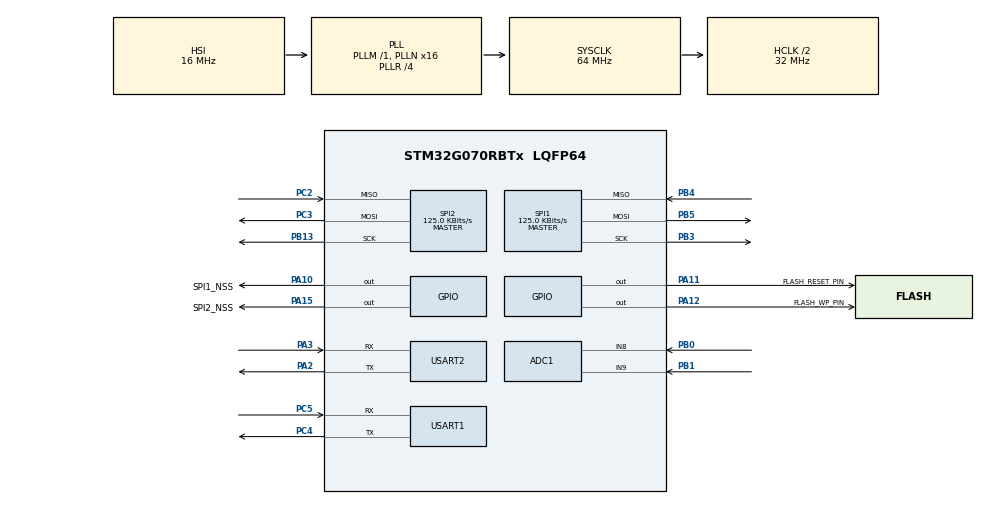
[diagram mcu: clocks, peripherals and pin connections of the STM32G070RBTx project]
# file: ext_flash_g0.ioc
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ADC1.Channel-0\#ChannelRegularConversion=ADC_CHANNEL_8
ADC1.NbrOfConversionFlag=1
ADC1.Rank-0\#ChannelRegularConversion=1
ADC1.SamplingTime-0\#ChannelRegularConversion=ADC_SAMPLINGTIME_COMMON_1
ADC1.SelectedChannel=ADC_CHANNEL_8|ADC_CHANNEL_9
ADC1.master=1
Mcu.Family=STM32G0
Mcu.Name=STM32G070RBTx
Mcu.Package=LQFP64
PA10.GPIO_Label=SPI1_NSS
PA10.Signal=GPIO_Output
PA11\ [PA9].GPIO_Label=FLASH_RESET_PIN
PA11\ [PA9].Signal=GPIO_Output
PA12\ [PA10].GPIO_Label=FLASH_WP_PIN
PA12\ [PA10].Signal=GPIO_Output
PA13.GPIO_Label=TMS
PA13.Mode=Serial_Wire
PA13.Signal=SYS_SWDIO
PA14-BOOT0.GPIO_Label=TCK
PA14-BOOT0.Mode=Serial_Wire
PA14-BOOT0.Signal=SYS_SWCLK
PA15.GPIO_Label=SPI2_NSS
PA15.Signal=GPIO_Output
PA2.Mode=Asynchronous
PA2.Signal=USART2_TX
PA3.Mode=Asynchronous
PA3.Signal=USART2_RX
PB0.Mode=IN8
PB0.Signal=ADC1_IN8
PB1.Mode=IN9
PB1.Signal=ADC1_IN9
PB13.Mode=Full_Duplex_Master
PB13.Signal=SPI2_SCK
PB3.Mode=Full_Duplex_Master
PB3.Signal=SPI1_SCK
PB4.Mode=Full_Duplex_Master
PB4.Signal=SPI1_MISO
PB5.Mode=Full_Duplex_Master
PB5.Signal=SPI1_MOSI
PC13.Mode=SYS_WakeUp1
PC13.Signal=SYS_WKUP2
PC14-OSC32_IN\ (PC14).Mode=LSE-External-Oscillator
PC14-OSC32_IN\ (PC14).Signal=RCC_OSC32_IN
PC15-OSC32_OUT\ (PC15).Mode=LSE-External-Oscillator
PC15-OSC32_OUT\ (PC15).Signal=RCC_OSC32_OUT
PC2.Mode=Full_Duplex_Master
PC2.Signal=SPI2_MISO
PC3.Mode=Full_Duplex_Master
PC3.Signal=SPI2_MOSI
PC4.Mode=Asynchronous
PC4.Signal=USART1_TX
PC5.Mode=Asynchronous
PC5.Signal=USART1_RX
PF0-OSC_IN\ (PF0).GPIO_Label=MCO
PF0-OSC_IN\ (PF0).Mode=HSE-External-Clock-Source
PF0-OSC_IN\ (PF0).Signal=RCC_OSC_IN
ProjectManager.HeapSize=0x200
ProjectManager.StackSize=0x400
ProjectManager.TargetToolchain=STM32CubeIDE
RCC.ADCFreq_Value=64000000
RCC.AHBCLKDivider=RCC_SYSCLK_DIV2
RCC.AHBFreq_Value=32000000
RCC.CortexFreq_Value=32000000
RCC.EXTERNAL_CLOCK_VALUE=12288000
RCC.HCLKFreq_Value=32000000
RCC.HSE_VALUE=8000000
RCC.HSI_VALUE=16000000
RCC.PLLN=16
RCC.PLLR=RCC_PLLR_DIV4
RCC.SYSCLKFreq_VALUE=64000000
RCC.SYSCLKSource=RCC_SYSCLKSOURCE_PLLCLK
RCC.VCOOutputFreq_Value=256000000
SPI1.BaudRatePrescaler=SPI_BAUDRATEPRESCALER_256
SPI1.CalculateBaudRate=125.0 KBits/s
SPI1.DataSize=SPI_DATASIZE_8BIT
SPI1.Direction=SPI_DIRECTION_2LINES
SPI1.Mode=SPI_MODE_MASTER
SPI1.NSSPMode=SPI_NSS_PULSE_DISABLE
SPI1.VirtualType=VM_MASTER
SPI2.BaudRatePrescaler=SPI_BAUDRATEPRESCALER_256
SPI2.CalculateBaudRate=125.0 KBits/s
SPI2.DataSize=SPI_DATASIZE_8BIT
SPI2.Direction=SPI_DIRECTION_2LINES
SPI2.Mode=SPI_MODE_MASTER
SPI2.NSSPMode=SPI_NSS_PULSE_DISABLE
SPI2.VirtualType=VM_MASTER
USART1.VirtualMode-Asynchronous=VM_ASYNC
USART2.VirtualMode-Asynchronous=VM_ASYNC
board=NUCLEO-G070RB

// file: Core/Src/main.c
/* USER CODE BEGIN Header */
/**
 ******************************************************************************
 * @file           : main.c
 * @brief          : Main program body
 ******************************************************************************
 * @attention
 *
 * Copyright (c) 2023 STMicroelectronics.
 * All rights reserved.
 *
 * This software is licensed under terms that can be found in the LICENSE file
 * in the root directory of this software component.
 * If no LICENSE file comes with this software, it is provided AS-IS.
 *
 ******************************************************************************
 */
/* USER CODE END Header */
#include "main.h"
#include "adc.h"
#include "gpio.h"
#include "spi.h"
#include "usart.h"

/* USER CODE BEGIN Includes */
#include <math.h>
#include <stdbool.h>
#include <stdint.h>
#include <stdio.h>
#include <string.h>

#include "n25q128a.h"
#include "dfu.h"

/* USER CODE END Includes */

/* USER CODE BEGIN PD */
#define FLASH_TEST_MX25 (0)
#define FLASH_TEST_N25Q (1)

#if (FLASH_TEST_MX25 != 0)
#define MX25_SPI_PORT1 (0) /* 1 -> SPI1, 0 -> SPI2 */
#define MX25_DEFAULT_IMG_ADDR (0x7000)

    #if (MX25_SPI_PORT1 != 0)
    #warning "De-init SPI1 pins currently still not supported (nRF will failed to read flash)"
    #endif

#include "MX25Series.h"
MX25Series_t flash_test = {0};

#endif /* End of (FLASH_TEST_MX25 != 0) */

#if (FLASH_TEST_N25Q != 0)
#define FLASH_N25_MANUFACTURE_ID                (0x20)
#define FLASH_N25_MEM_TYPE_ID                   (0xBA)
#define FLASH_N25_MEM_CAPACITY_ID               (0x19)   // 256Mbit
#define FLASH_N25_READ_ID_MSG_LEN               (20)

// ====================== FW ====================== //
/* Symbols relate to FW binary data (defined in linker script) */
extern int _start_fw_data, _end_fw_data;
const uint8_t* fw_binary_data_start = (uint8_t*) &_start_fw_data;
const uint8_t* fw_binary_data_end = (uint8_t*) &_end_fw_data;
#endif /* End of (FLASH_TEST_N25Q != 0)) */

/* USER CODE END PD */

void SystemClock_Config(void);

/* USER CODE BEGIN 0 */
#define PUTCHAR_PROTOTYPE int __io_putchar(int ch)
/**
 * @brief  Retargets the C library printf function to the USART.
 * @param  None
 * @retval None
 */
PUTCHAR_PROTOTYPE
{
    /* Place your implementation of fputc here */
    /* e.g. write a character to the USART1 and Loop until the end of transmission */
    HAL_UART_Transmit(&huart2, (uint8_t *) &ch, 1, 0xFFFF);

    return ch;
}

#if (FLASH_TEST_MX25 != 0)

int flash_mx25_init(void)
{

#if (MX25_SPI_PORT1 != 0)

    if (MX25Series_status_ok == MX25Series_init(&flash_test, &MX25R6435F_Chip_Def_Low_Power, SPI1_NSS_PIN_NUMBER,
                                                FLASH_RESET_PIN_NUMBER, FLASH_WP_PIN_NUMBER, 0, &hspi1))
#else  /* !(MX25_SPI_PORT1 != 0) */
    if (MX25Series_status_ok == MX25Series_init(&flash_test, &MX25R6435F_Chip_Def_Low_Power, SPI2_NSS_PIN_NUMBER,
                                                FLASH_RESET_PIN_NUMBER, FLASH_WP_PIN_NUMBER, 0, &hspi2))
#endif /* End of (MX25_SPI_PORT1 != 0) */
    {
        if (MX25Series_status_ok ==
            MX25Series_read_identification(&flash_test, &flash_info[0], &flash_info[1], &flash_info[2]))
        {
            printf("MX25Series_init ok\r\n");
            // Check valid image
            if (!dfu_image_is_valid(MX25_DEFAULT_IMG_ADDR))
            {
                printf("Found valid image \r\n");
            }
            else
            {
                printf("Image is invalid\r\n");
            }
        }
        else
            printf("MX25Series_read_manufacture_and_device_id fail\r\n");
    }
    else
        printf("MX25Series_init fail\r\n");
    return 0;
}

// Config all external flash pins as analog input
void flash_mx25_deinit(void)
{
    HAL_GPIO_DeInit(GPIOA, FLASH_RESET_PIN_Pin | FLASH_WP_PIN_Pin);
#if (MX25_SPI_PORT1 != 0)

    /*Configure GPIO pin : SPI1 NSS */
    HAL_GPIO_DeInit(SPI1_NSS_GPIO_Port, SPI1_NSS_Pin);
    HAL_SPI_MspDeInit(&hspi1);

#else  /* !(MX25_SPI_PORT1 != 0) */

    /*Configure GPIO pin : SPI2 NSS */
    HAL_GPIO_DeInit(SPI2_NSS_GPIO_Port, SPI2_NSS_Pin);
    HAL_SPI_MspDeInit(&hspi2);
#endif /* End of (MX25_SPI_PORT1 != 0) */
}
#endif /* (FLASH_TEST_MX25 != 0) */

int flash_n25q_init(void)
{
    uint8_t flash_id[FLASH_N25_READ_ID_MSG_LEN] = {0};
    // DQ2, DQ3 must be high for SPI operation
    HAL_GPIO_WritePin(FLASH_RESET_PORT, FLASH_RESET_PIN, GPIO_PIN_SET);
    HAL_GPIO_WritePin(FLASH_WP_PORT, FLASH_WP_PIN, GPIO_PIN_SET);
    // Check flash ID
    N25Q_ReadID(flash_id, sizeof(flash_id));
    if ((flash_id[0] != FLASH_N25_MANUFACTURE_ID) || (flash_id[1] != FLASH_N25_MEM_TYPE_ID))
    {
        printf("[ERR] Flash ID is not correct \r\n");
        return -1;
    }
    if (flash_id[2] != FLASH_N25_MEM_CAPACITY_ID)
    {
        printf("[ERR] Flash capacity is not correct \r\n");
    }

    int reg_status = N25Q_ReadLockRegister(FLASH_N25_FW_START_ADDR);
    if(reg_status == 0)
    {
        printf("[INFO] Flash is unlocked \r\n");
    }
    else
    {
        printf("[ERR] Flash is locked \r\n");
        return -1;
    }
    // Read status register
    reg_status = N25Q_ReadStatusRegister();
    // Check if bit 2,3,4, 6 are set (blocked)
    if ((reg_status & 0x5C) != 0)
    {
        printf("[ERR] Flash is in block protection mode \r\n");
        printf("Unlocking flash ... \r\n");
        // Unlock flash, clear bit 2,3,4, 6,7
        reg_status &= ~(0xDC);
        N25Q_WriteStatusRegister(reg_status);
        reg_status = N25Q_ReadStatusRegister();
    }

    return 0;
}

/* USER CODE END 0 */

int main(void)
{

    /* MCU Configuration--------------------------------------------------------*/

    /* Reset of all peripherals, Initializes the Flash interface and the Systick. */
    HAL_Init();

    /* Configure the system clock */
    SystemClock_Config();

    /* Initialize all configured peripherals */
    MX_GPIO_Init();
    MX_ADC1_Init();
    MX_SPI1_Init();
    MX_SPI2_Init();
    MX_USART1_UART_Init();
    MX_USART2_UART_Init();
    /* USER CODE BEGIN 2 */
    if (flash_n25q_init() != 0)
    {
        printf("[ERR] flash_n25q_init() failed \r\n");
    }

    if (dfu_fw_image_update(fw_binary_data_start, fw_binary_data_end - fw_binary_data_start, FLASH_N25_FW_START_ADDR) != 0)
    {
        printf("[ERR] dfu_fw_image_update() failed \r\n");
    }

    /* USER CODE END 2 */

    /* Infinite loop */
    while (1)
    {

    }
}

void SystemClock_Config(void)
{
    RCC_OscInitTypeDef RCC_OscInitStruct = {0};
    RCC_ClkInitTypeDef RCC_ClkInitStruct = {0};

    /** Configure the main internal regulator output voltage
     */
    HAL_PWREx_ControlVoltageScaling(PWR_REGULATOR_VOLTAGE_SCALE1);

    /** Initializes the RCC Oscillators according to the specified parameters
     * in the RCC_OscInitTypeDef structure.
     */
    RCC_OscInitStruct.OscillatorType = RCC_OSCILLATORTYPE_HSI;
    RCC_OscInitStruct.HSIState = RCC_HSI_ON;
    RCC_OscInitStruct.HSIDiv = RCC_HSI_DIV1;
    RCC_OscInitStruct.HSICalibrationValue = RCC_HSICALIBRATION_DEFAULT;
    RCC_OscInitStruct.PLL.PLLState = RCC_PLL_ON;
    RCC_OscInitStruct.PLL.PLLSource = RCC_PLLSOURCE_HSI;
    RCC_OscInitStruct.PLL.PLLM = RCC_PLLM_DIV1;
    RCC_OscInitStruct.PLL.PLLN = 16;
    RCC_OscInitStruct.PLL.PLLP = RCC_PLLP_DIV2;
    RCC_OscInitStruct.PLL.PLLR = RCC_PLLR_DIV4;
    if (HAL_RCC_OscConfig(&RCC_OscInitStruct) != HAL_OK)
    {
        Error_Handler();
    }

    /** Initializes the CPU, AHB and APB buses clocks
     */
    RCC_ClkInitStruct.ClockType = RCC_CLOCKTYPE_HCLK | RCC_CLOCKTYPE_SYSCLK | RCC_CLOCKTYPE_PCLK1;
    RCC_ClkInitStruct.SYSCLKSource = RCC_SYSCLKSOURCE_PLLCLK;
    RCC_ClkInitStruct.AHBCLKDivider = RCC_SYSCLK_DIV2;
    RCC_ClkInitStruct.APB1CLKDivider = RCC_HCLK_DIV1;

    if (HAL_RCC_ClockConfig(&RCC_ClkInitStruct, FLASH_LATENCY_1) != HAL_OK)
    {
        Error_Handler();
    }
}

void Error_Handler(void)
{
    /* USER CODE BEGIN Error_Handler_Debug */
    /* User can add his own implementation to report the HAL error return state
     */
    __disable_irq();
    while (1)
    {
    }
    /* USER CODE END Error_Handler_Debug */
}

#ifdef USE_FULL_ASSERT
/**
 * @brief  Reports the name of the source file and the source line number
 *         where the assert_param error has occurred.
 * @param  file: pointer to the source file name
 * @param  line: assert_param error line source number
 * @retval None
 */
void assert_failed(uint8_t *file, uint32_t line)
{
    /* USER CODE BEGIN 6 */
    /* User can add his own implementation to report the file name and line
       number, ex: printf("Wrong parameters value: file %s on line %d\r\n",
       file, line) */
    printf("Wrong parameters value: file %s on line %d\r\n", file, (int) line);

    /* USER CODE END 6 */
}
#endif /* USE_FULL_ASSERT */
